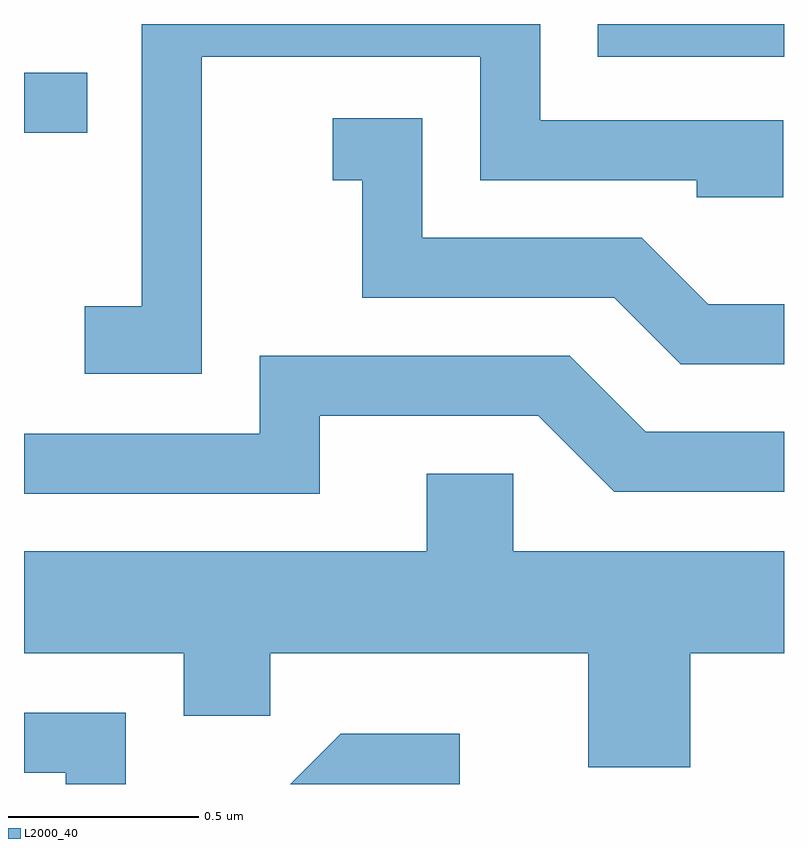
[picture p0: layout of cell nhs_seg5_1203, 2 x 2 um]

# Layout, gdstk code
import gdstk
lib = gdstk.Library(unit=1e-6, precision=1e-09)
def R(c, l, rs):  # rectangles x0, y0, x1, y1
    for r in rs: c.add(gdstk.rectangle(r[:2], r[2:], *l))
def P(c, l, *ps):  # polygons
    for p in ps: c.add(gdstk.Polygon(p, *l))
L2000_40 = (2000, 40)

nhs_seg5_1203 = lib.new_cell('nhs_seg5_1203')
R(nhs_seg5_1203, L2000_40, [(193.611,1504.786,193.778,1504.944), (195.121,1504.986,195.611,1505.072)])
P(nhs_seg5_1203, L2000_40, [(194.079,1504.986),(194.811,1504.986),(194.811,1504.661),(195.381,1504.661),(195.381,1504.616),(195.609,1504.616),(195.609,1504.819),(194.969,1504.819),(194.969,1505.072),(193.921,1505.072),(193.921,1504.329),(193.771,1504.329),(193.771,1504.151),(194.079,1504.151)],
  [(195.611,1504.334),(195.412,1504.334),(195.237,1504.509),(194.659,1504.509),(194.659,1504.824),(194.423,1504.824),(194.423,1504.661),(194.501,1504.661),(194.501,1504.351),(195.164,1504.351),(195.339,1504.176),(195.611,1504.176)],
  [(194.389,1504.041),(194.964,1504.041),(195.164,1503.841),(195.611,1503.841),(195.611,1503.999),(195.247,1503.999),(195.047,1504.199),(194.231,1504.199),(194.231,1503.994),(193.611,1503.994),(193.611,1503.836),(194.389,1503.836)],
  [(195.364,1503.416),(195.611,1503.416),(195.611,1503.684),(194.899,1503.684),(194.899,1503.889),(194.671,1503.889),(194.671,1503.684),(193.611,1503.684),(193.611,1503.416),(194.031,1503.416),(194.031,1503.251),(194.259,1503.251),(194.259,1503.416),(195.096,1503.416),(195.096,1503.116),(195.364,1503.116)],
  [(193.879,1503.259),(193.611,1503.259),(193.611,1503.101),(193.721,1503.101),(193.721,1503.072),(193.879,1503.072)],
  [(194.758,1503.204),(194.444,1503.204),(194.312,1503.072),(194.758,1503.072)])

lib.write_gds('nhs_seg5_1203.gds')
